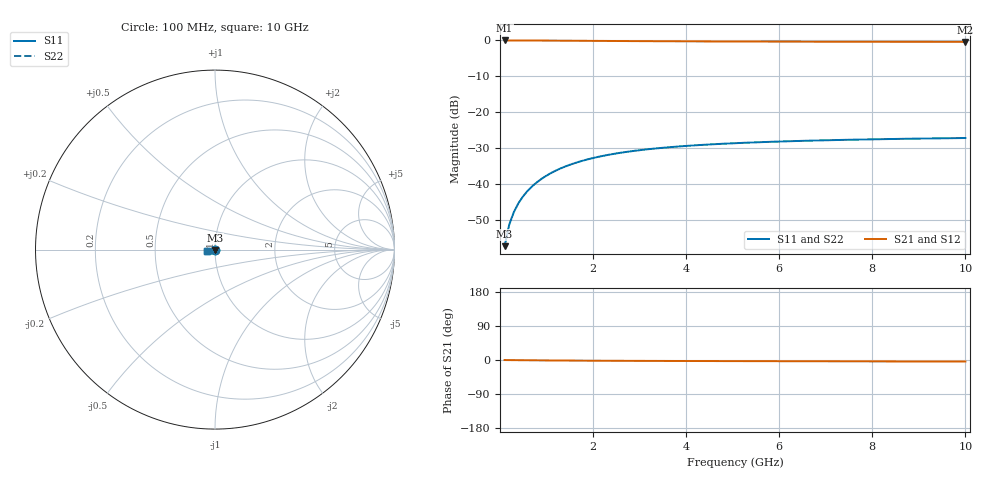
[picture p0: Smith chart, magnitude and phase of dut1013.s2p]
! Touchstone file exported from HFSS 2024.1.0
!  File:  C:/UserFiles/LocalFiles/RDL_TSV_Batchsim/temp_TSV1_1013_1780059203.aedt
!  Generated:  08:57:52 PM May 29, 2026
!  Design:  TSV1
!  Project:  temp_TSV1_1013_1780059203
!  Setup:  Setup1
!  Solution:  Sweep
! Variables:
!  dtsv = 14.91um
!  hbump = 3um
!  htsv = 59.72um
!  lrdl = 252.1521522um
!  p = 40
!  p1 = 56.16um
!  t = 500um
!  trdl = 3um
!  wrdl = 24.89489489um
# GHz S MA R 50.000000
! Terminal data exported
! Port[1] = TSV22_T1
! Port[2] = TSV22_T2
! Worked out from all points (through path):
!   100 points, 100 MHz to 10 GHz, reference 50 ohm
!   highest |S21| = 0.00 dB at 100 MHz (marker M1); lowest = -0.4 dB at 10 GHz (marker M2)
!   lowest |S11| = -57.2 dB at 100 MHz (marker M3), VSWR 1.00, Z = 50 - j0.138 ohm
!   |S11| at or under -10 dB: start of sweep to end of sweep
!   |S22| runs from -57.2 to -27.1 dB; largest |S21 - S12| = 3.2e-15
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0.1  0.00138 -89.1  0.9999 -0.1  0.9999 -0.1  0.00138 -89.1
! Gamma 0 0 0 0
! Port Impedance 50 0 50 0
0.2  0.002759 -92.3  0.9997 -0.2  0.9997 -0.2  0.002759 -92.3
0.3  0.004135 -94.6  0.9995 -0.4  0.9995 -0.4  0.004135 -94.6
0.4  0.005501 -96.8  0.9991 -0.5  0.9991 -0.5  0.005501 -96.8
0.5  0.00685 -98.9  0.9987 -0.6  0.9987 -0.6  0.00685 -98.9
0.6  0.008177 -100.9  0.9982 -0.7  0.9982 -0.7  0.008177 -100.9
0.7  0.009478 -102.8  0.9976 -0.8  0.9976 -0.8  0.009478 -102.8
0.8  0.01075 -104.7  0.997 -0.9  0.997 -0.9  0.01075 -104.7
0.9  0.01199 -106.6  0.9963 -1.0  0.9963 -1.0  0.01199 -106.6
1.1  0.01437 -110.2  0.9948 -1.2  0.9948 -1.2  0.01437 -110.2
1.4  0.01765 -115.2  0.9923 -1.4  0.9923 -1.4  0.01765 -115.2
1.6  0.01965 -118.3  0.9905 -1.6  0.9905 -1.6  0.01965 -118.3
1.8  0.02149 -121.3  0.9887 -1.7  0.9887 -1.7  0.02149 -121.3
2.1  0.02399 -125.4  0.986 -1.9  0.986 -1.9  0.02399 -125.4
2.5  0.02685 -130.3  0.9825 -2.1  0.9825 -2.1  0.02685 -130.3
2.9  0.02926 -134.6  0.9793 -2.3  0.9793 -2.3  0.02926 -134.6
3.4  0.03176 -139.3  0.9758 -2.5  0.9758 -2.5  0.03176 -139.3
4.2  0.03485 -145.6  0.9711 -2.7  0.9711 -2.7  0.03485 -145.6
5.1  0.0374 -151.4  0.967 -2.9  0.967 -2.9  0.0374 -151.4
6.7  0.0405 -159.3  0.9618 -3.3  0.9618 -3.3  0.0405 -159.3
8.4  0.04262 -165.7  0.9581 -3.7  0.9581 -3.7  0.04262 -165.7
10  0.04401 -170.7  0.9558 -4.1  0.9558 -4.1  0.04401 -170.7
